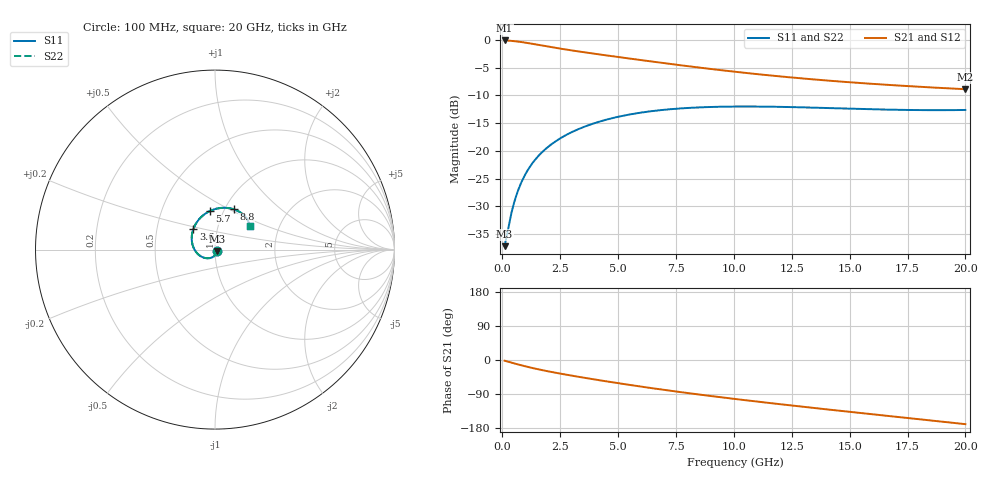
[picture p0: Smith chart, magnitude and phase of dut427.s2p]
! Touchstone file exported from HFSS 2024.1.0
!  File:  C:/UserFiles/LocalFiles/RDL_TSV_Batchsim/temp_RDL_TSV_427_1779718964.aedt
!  Generated:  10:36:16 PM May 25, 2026
!  Design:  RDL_TSV
!  Project:  temp_RDL_TSV_427_1779718964
!  Setup:  Setup1
!  Solution:  Sweep
! Variables:
!  dtsv = 13.85um
!  hbump = 3um
!  htsv = 98.19um
!  ldown = 446.88um
!  lrdl = 140.76um
!  p = 40
!  p1 = 50.8um
!  rhole = 10um
!  subl = 1903.68um
!  t = 450um
!  tdown = 2.91um
!  trdl = 3.76um
!  viad = 10um
!  wdown = 16.54um
!  wrdl = 26.81um
!  xbump = 18um
# GHz S MA R 50.000000
! Terminal data exported
! Port[1] = TM1_1_T1
! Port[2] = TM1_4_T1
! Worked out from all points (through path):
!   200 points, 100 MHz to 20 GHz, reference 50 ohm
!   highest |S21| = -0.11 dB at 100 MHz (marker M1); lowest = -8.9 dB at 20 GHz (marker M2)
!   group delay of S21, straight-line fit = 21.9 ps
!   lowest |S11| = -37.2 dB at 100 MHz (marker M3), VSWR 1.03, Z = 51.2 - j0.726 ohm
!   |S11| at or under -10 dB: start of sweep to end of sweep
!   |S22| runs from -37.2 to -12.0 dB; largest |S21 - S12| = 2e-14
!   S11 on the Smith chart (normalised r, x): 100 MHz: 1.02, -0.01; 3.6 GHz: 0.77, +0.18; 5.7 GHz: 0.86, +0.39; 8.8 GHz: 1.10, +0.53; 20 GHz: 1.41, +0.39
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0.1  0.01385 -30.8  0.9869 -1.8  0.9869 -1.8  0.01385 -30.8
! Gamma 0 0 0 0
! Port Impedance 50 0 50 0
0.3  0.02245 -70.4  0.9821 -5.3  0.9821 -5.3  0.02245 -70.4
0.4  0.02789 -82.8  0.9784 -7.1  0.9784 -7.1  0.02789 -82.8
0.6  0.0393 -101.4  0.9687 -10.4  0.9687 -10.4  0.03931 -101.4
0.7  0.04503 -109.1  0.963 -12.1  0.963 -12.1  0.04504 -109.1
0.9  0.05627 -122.5  0.95 -15.2  0.95 -15.2  0.05628 -122.5
1.2  0.07229 -139.7  0.9282 -19.7  0.9282 -19.7  0.07229 -139.7
1.6  0.09187 -159.1  0.8975 -25.2  0.8975 -25.2  0.09187 -159.1
2.1  0.1137 -179.5  0.8605 -31.3  0.8605 -31.3  0.1137 -179.5
2.7  0.1368 160.3  0.8206 -38.1  0.8206 -38.1  0.1368 160.3
3.5  0.1635 138.7  0.7743 -46.5  0.7743 -46.5  0.1635 138.7
3.6  0.1665 136.3  0.769 -47.5  0.769 -47.5  0.1665 136.3
4.6  0.1935 115.7  0.7189 -57.3  0.7189 -57.3  0.1934 115.7
5.7  0.2162 98.1  0.6692 -67.6  0.6692 -67.6  0.2161 98.1
6.8  0.2322 84.1  0.6239 -77.2  0.6239 -77.2  0.2321 84.1
8.8  0.2476 65.3  0.5527 -93.5  0.5527 -93.5  0.2475 65.4
10.1  0.2507 56.4  0.5143 -103.2  0.5143 -103.2  0.2505 56.4
11.7  0.2496 48.1  0.4747 -114.6  0.4747 -114.6  0.2494 48.1
13.4  0.2452 41.8  0.4407 -126.2  0.4407 -126.2  0.245 41.8
15  0.2399 37.9  0.4148 -136.8  0.4148 -136.8  0.2397 37.9
16.7  0.235 35.5  0.3923 -147.9  0.3923 -147.9  0.2348 35.5
20  0.2335 34.4  0.359 -169.3  0.359 -169.3  0.2333 34.4
